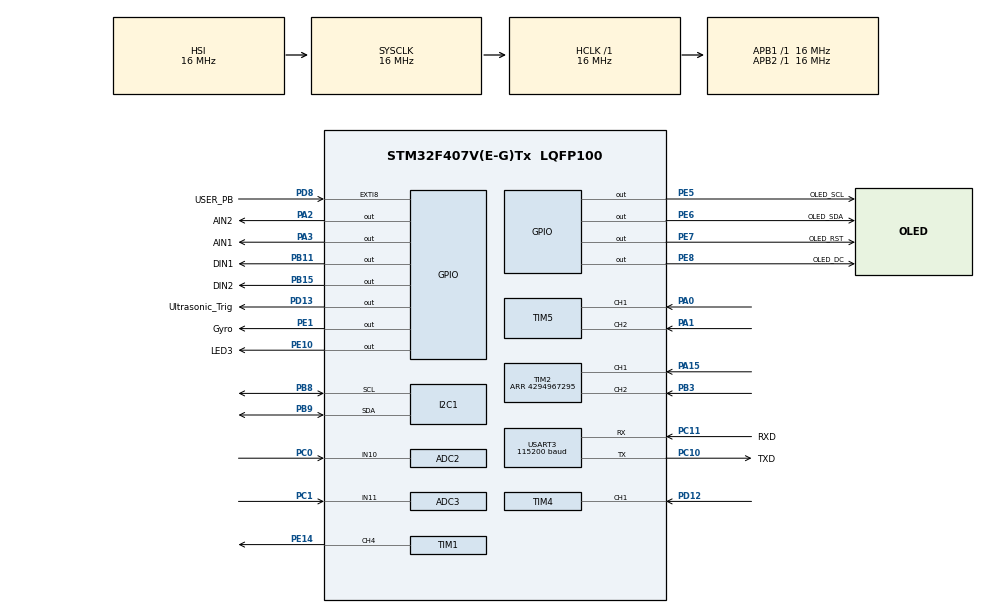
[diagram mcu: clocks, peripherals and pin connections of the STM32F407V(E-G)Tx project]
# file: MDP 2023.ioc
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ADC2.Channel-1\#ChannelRegularConversion=ADC_CHANNEL_10
ADC2.NbrOfConversionFlag=1
ADC2.Rank-1\#ChannelRegularConversion=1
ADC2.SamplingTime-1\#ChannelRegularConversion=ADC_SAMPLETIME_3CYCLES
ADC3.Channel-1\#ChannelRegularConversion=ADC_CHANNEL_11
ADC3.NbrOfConversionFlag=1
ADC3.Rank-1\#ChannelRegularConversion=1
ADC3.SamplingTime-1\#ChannelRegularConversion=ADC_SAMPLETIME_3CYCLES
FREERTOS.Tasks01=defaultTask,8,128,StartDefaultTask,Default,NULL,Dynamic,NULL,NULL;DCMotor,8,128,DCMotor_task,Default,NULL,Dynamic,NULL,NULL;RefreshOLED,8,128,RefreshOLED_task,Default,NULL,Dynamic,NULL,NULL;EncoderMotorA,8,128,EncoderMotorA_task,Default,NULL,Dynamic,NULL,NULL;EncoderMotorB,8,128,EncoderMotorB_task,Default,NULL,Dynamic,NULL,NULL;UART_Command_RX,8,128,UART_Command_RX_task,Default,NULL,Dynamic,NULL,NULL;Gyrohandle,8,128,Gyro,Default,NULL,Dynamic,NULL,NULL;Ultrasonic,8,128,Ultrasonic_task,Default,NULL,Dynamic,NULL,NULL
Mcu.Family=STM32F4
Mcu.Name=STM32F407V(E-G)Tx
Mcu.Package=LQFP100
NVIC.EXTI9_5_IRQn=true\:5\:0\:false\:false\:true\:true\:true\:true\:true
NVIC.PriorityGroup=NVIC_PRIORITYGROUP_4
NVIC.TIM4_IRQn=true\:5\:0\:false\:false\:true\:true\:true\:true\:true
NVIC.USART3_IRQn=true\:5\:0\:false\:false\:true\:true\:true\:true\:true
PA0-WKUP.Signal=S_TIM5_CH1
PA1.Signal=S_TIM5_CH2
PA15.Signal=S_TIM2_CH1_ETR
PA2.GPIO_Label=AIN2
PA2.GPIO_Speed=GPIO_SPEED_FREQ_HIGH
PA2.Signal=GPIO_Output
PA3.GPIO_Label=AIN1
PA3.GPIO_Speed=GPIO_SPEED_FREQ_HIGH
PA3.Signal=GPIO_Output
PA6.Signal=S_TIM3_CH1
PB11.GPIO_Label=DIN1
PB11.GPIO_Speed=GPIO_SPEED_FREQ_HIGH
PB11.PinState=GPIO_PIN_RESET
PB11.Signal=GPIO_Output
PB15.GPIO_Label=DIN2
PB15.GPIO_Speed=GPIO_SPEED_FREQ_HIGH
PB15.Signal=GPIO_Output
PB3.Signal=S_TIM2_CH2
PB8.Mode=I2C
PB8.Signal=I2C1_SCL
PB9.Mode=I2C
PB9.Signal=I2C1_SDA
PC0.Signal=ADCx_IN10
PC1.Signal=ADCx_IN11
PC10.GPIO_Label=TXD
PC10.GPIO_ModeDefaultPP=GPIO_MODE_AF_PP
PC10.GPIO_Speed=GPIO_SPEED_FREQ_VERY_HIGH
PC10.Mode=Asynchronous
PC10.Signal=USART3_TX
PC11.GPIO_Label=RXD
PC11.GPIO_Speed=GPIO_SPEED_FREQ_VERY_HIGH
PC11.Mode=Asynchronous
PC11.Signal=USART3_RX
PC6.GPIO_Label=PWMA
PC6.Signal=S_TIM8_CH1
PC9.GPIO_Label=PWMD
PC9.Signal=S_TIM8_CH4
PD12.Signal=S_TIM4_CH1
PD13.GPIO_Label=Ultrasonic_Trig
PD13.Signal=GPIO_Output
PD8.GPIO_Label=USER_PB
PD8.GPIO_PuPd=GPIO_PULLDOWN
PD8.Signal=GPXTI8
PE1.GPIO_Label=Gyro
PE1.Signal=GPIO_Output
PE10.GPIO_Label=LED3
PE10.Signal=GPIO_Output
PE14.Signal=S_TIM1_CH4
PE5.GPIO_Label=OLED_SCL
PE5.Signal=GPIO_Output
PE6.GPIO_Label=OLED_SDA
PE6.Signal=GPIO_Output
PE7.GPIO_Label=OLED_RST
PE7.Signal=GPIO_Output
PE8.GPIO_Label=OLED_DC
PE8.Signal=GPIO_Output
ProjectManager.HeapSize=0x200
ProjectManager.StackSize=0x400
ProjectManager.TargetToolchain=STM32CubeIDE
RCC.AHBFreq_Value=16000000
RCC.APB1Freq_Value=16000000
RCC.APB2Freq_Value=16000000
RCC.CortexFreq_Value=16000000
RCC.HSE_VALUE=25000000
RCC.HSI_VALUE=16000000
RCC.LSE_VALUE=32768
RCC.SYSCLKFreq_VALUE=16000000
RCC.VCOOutputFreq_Value=192000000
SH.ADCx_IN10.0=ADC2_IN10,IN10
SH.ADCx_IN11.0=ADC3_IN11,IN11
SH.S_TIM1_CH4.0=TIM1_CH4,PWM Generation4 CH4
SH.S_TIM2_CH1_ETR.0=TIM2_CH1,Encoder_Interface
SH.S_TIM2_CH2.0=TIM2_CH2,Encoder_Interface
SH.S_TIM3_CH1.0=TIM3_CH1
SH.S_TIM4_CH1.0=TIM4_CH1,Input_Capture1_from_TI1
SH.S_TIM5_CH1.0=TIM5_CH1,Encoder_Interface
SH.S_TIM5_CH2.0=TIM5_CH2,Encoder_Interface
SH.S_TIM8_CH1.0=TIM8_CH1
SH.S_TIM8_CH4.0=TIM8_CH4
TIM1.AutoReloadPreload=TIM_AUTORELOAD_PRELOAD_ENABLE
TIM1.Channel-PWM\ Generation4\ CH4=TIM_CHANNEL_4
TIM1.Period=1000
TIM1.Prescaler=160
TIM2.EncoderMode=TIM_ENCODERMODE_TI12
TIM2.IC1Filter=10
TIM2.IC2Filter=10
TIM2.Period=4294967295
TIM4.Channel-Input_Capture1_from_TI1=TIM_CHANNEL_1
TIM4.Period=0xffff-1
TIM4.Prescaler=16-1
TIM5.EncoderMode=TIM_ENCODERMODE_TI12
TIM5.IC1Filter=10
TIM5.IC2Filter=10
TIM8.Channel-PWM\ Generation1\ No\ Output=TIM_CHANNEL_1
TIM8.Channel-PWM\ Generation2\ No\ Output=TIM_CHANNEL_2
TIM8.Channel-PWM\ Generation4\ No\ Output=TIM_CHANNEL_4
TIM8.Period=7199
USART3.BaudRate=115200
USART3.VirtualMode=VM_ASYNC
VP_FREERTOS_VS_CMSIS_V2.Mode=CMSIS_V2
VP_TIM1_VS_ClockSourceINT.Mode=Internal
VP_TIM8_VS_ClockSourceINT.Mode=Internal
VP_TIM8_VS_no_output1.Mode=PWM Generation1 No Output
VP_TIM8_VS_no_output2.Mode=PWM Generation2 No Output
VP_TIM8_VS_no_output4.Mode=PWM Generation4 No Output
board=custom

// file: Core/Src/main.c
/* USER CODE BEGIN Header */
/**
  ******************************************************************************
  * @file           : main.c
  * @brief          : Main program body
  ******************************************************************************
  * @attention
  *
  * Copyright (c) 2023 STMicroelectronics.
  * All rights reserved.
  *
  * This software is licensed under terms that can be found in the LICENSE file
  * in the root directory of this software component.
  * If no LICENSE file comes with this software, it is provided AS-IS.
  *
  ******************************************************************************
  */
/* USER CODE END Header */
#include "main.h"
#include "cmsis_os.h"

/* USER CODE BEGIN Includes */
#include "oled.h"
#include "stdlib.h"
#include <math.h>
#include <string.h>
/* USER CODE END Includes */

/* USER CODE BEGIN PD */
#define CNT_ERROR_TOLERANCE 10
//#define PWM_MAX 3000 //1500
#define SERVO_RIGHT_MAX 230
#define SERVO_LEFT_MAX 100
#define SERVO_STRAIGHT 150
#define INTEGRAL_MAX 1000000
//#define GREATER_TURN_PWM 1500 // 1500
//#define LESSER_TURN_PWM 1200 //1200

// for ultrasonic sensor
#define TRIG_PIN Ultrasonic_Trig_Pin
#define TRIG_PORT Ultrasonic_Trig_GPIO_Port

/* USER CODE END PD */

ADC_HandleTypeDef hadc2;
ADC_HandleTypeDef hadc3;

I2C_HandleTypeDef hi2c1;

TIM_HandleTypeDef htim1;
TIM_HandleTypeDef htim2;
TIM_HandleTypeDef htim4;
TIM_HandleTypeDef htim5;
TIM_HandleTypeDef htim8;

UART_HandleTypeDef huart3;

/* Definitions for defaultTask */
osThreadId_t defaultTaskHandle;
const osThreadAttr_t defaultTask_attributes = {
  .name = "defaultTask",
  .stack_size = 128 * 4,
  .priority = (osPriority_t) osPriorityLow,
};
/* Definitions for DCMotor */
osThreadId_t DCMotorHandle;
const osThreadAttr_t DCMotor_attributes = {
  .name = "DCMotor",
  .stack_size = 128 * 4,
  .priority = (osPriority_t) osPriorityLow,
};
/* Definitions for RefreshOLED */
osThreadId_t RefreshOLEDHandle;
const osThreadAttr_t RefreshOLED_attributes = {
  .name = "RefreshOLED",
  .stack_size = 128 * 4,
  .priority = (osPriority_t) osPriorityLow,
};
/* Definitions for EncoderMotorA */
osThreadId_t EncoderMotorAHandle;
const osThreadAttr_t EncoderMotorA_attributes = {
  .name = "EncoderMotorA",
  .stack_size = 128 * 4,
  .priority = (osPriority_t) osPriorityLow,
};
/* Definitions for EncoderMotorB */
osThreadId_t EncoderMotorBHandle;
const osThreadAttr_t EncoderMotorB_attributes = {
  .name = "EncoderMotorB",
  .stack_size = 128 * 4,
  .priority = (osPriority_t) osPriorityLow,
};
/* Definitions for UART_Command_RX */
osThreadId_t UART_Command_RXHandle;
const osThreadAttr_t UART_Command_RX_attributes = {
  .name = "UART_Command_RX",
  .stack_size = 128 * 4,
  .priority = (osPriority_t) osPriorityLow,
};
/* Definitions for Gyrohandle */
osThreadId_t GyrohandleHandle;
const osThreadAttr_t Gyrohandle_attributes = {
  .name = "Gyrohandle",
  .stack_size = 128 * 4,
  .priority = (osPriority_t) osPriorityLow,
};
/* Definitions for Ultrasonic */
osThreadId_t UltrasonicHandle;
const osThreadAttr_t Ultrasonic_attributes = {
  .name = "Ultrasonic",
  .stack_size = 128 * 4,
  .priority = (osPriority_t) osPriorityLow,
};

void SystemClock_Config(void);
static void MX_GPIO_Init(void);
static void MX_TIM8_Init(void);
static void MX_TIM1_Init(void);
static void MX_TIM2_Init(void);
static void MX_USART3_UART_Init(void);
static void MX_I2C1_Init(void);
static void MX_TIM5_Init(void);
static void MX_ADC2_Init(void);
static void MX_ADC3_Init(void);
static void MX_TIM4_Init(void);
void StartDefaultTask(void *argument);
void DCMotor_task(void *argument);
void RefreshOLED_task(void *argument);
void EncoderMotorA_task(void *argument);
void EncoderMotorB_task(void *argument);
void UART_Command_RX_task(void *argument);
void Gyro(void *argument);
void Ultrasonic_task(void *argument);

/* USER CODE BEGIN 0 */
// New commands from Rpi board will be received and stored in this buffer
//ICM20948 imu;
//uint8_t aRxBuffer[1];
uint8_t aRxBuffer[5];
uint8_t oledRow0[20];
uint8_t oledRow1[20];
uint8_t oledRow2[20];
uint8_t oledRow3[20];
uint8_t oledRow4[20];
uint8_t oledRow5[20];

uint8_t buff[20];
double totalAngle = 0;
uint8_t ICMAddr = 0x68;
uint32_t prevTick;
int16_t angularSpeed;
double oldTotalAngle = 0;

char cmd = '-';
int received = 0;
int turning = -1;
int dir = -2;
float input = 0.0;
int32_t diffA = 0;
int32_t diffB = 0;
int32_t pwmValB;
int32_t pwmValA;
int32_t millisOldA = 0;
int32_t errorOldA = 0;
int32_t errorAreaA = 0;
int32_t millisOldB = 0;
int32_t errorOldB = 0;
int32_t errorAreaB = 0;
float targetCount = 0.0;
double targetAngle = 0;

int8_t isIndoor = 0;
// If user button is not activated, set default values to indoor settings.
int currPWMSetting = 4000;
int pwmMax = 4000;
int greaterTurnPwm = 1500; // 1500
int lesserTurnPwm = 1200; //1200

void SendFeedBack(int done){
	if(done == 1){
		HAL_UART_Transmit(&huart3, "1,0\n", 4, 0xFFFF);
	}
	if(done == -1){
		HAL_UART_Transmit(&huart3, "-1,0\n", 5, 0xFFFF);
	}
}

void HAL_GPIO_EXTI_Callback( uint16_t GPIO_Pin ) {

	// Push user button if test is outdoors
	// LED light up = indoor, else, outdoors
	if (GPIO_Pin == USER_PB_Pin) {
		if (isIndoor == 0) // If Indoor
		{
			isIndoor = 1;
			HAL_GPIO_WritePin(GPIOE, LED3_Pin, GPIO_PIN_RESET);
			// global variables to set for indoor conditions
			currPWMSetting = 4000;
			pwmMax = 4000;
			greaterTurnPwm = 1500;
			lesserTurnPwm = 1200;
		}
		else // If Outdoor
		{
			isIndoor = 0;
			HAL_GPIO_WritePin(GPIOE, LED3_Pin, GPIO_PIN_SET);
			// global variables to set for outdoor conditions
			currPWMSetting = 2500;
			pwmMax = 2500;
			greaterTurnPwm = 800;
			lesserTurnPwm = 500;
		}
	}
}

//for ultrasonic sensor
uint32_t IC_Val1 = 0;
uint32_t IC_Val2 = 0;
uint32_t Difference = 0;
uint8_t Is_First_Captured = 0;  // is the first value captured ?
uint16_t Distance = 50;

void HAL_TIM_IC_CaptureCallback(TIM_HandleTypeDef *htim)
{
	if (htim->Channel == HAL_TIM_ACTIVE_CHANNEL_1)  // if the interrupt source is channel1
	{
		if (Is_First_Captured==0) // if the first value is not captured
		{
			IC_Val1 = HAL_TIM_ReadCapturedValue(htim, TIM_CHANNEL_1); // read the first value
			Is_First_Captured = 1;  // set the first captured as true
			// Now change the polarity to falling edge
			__HAL_TIM_SET_CAPTUREPOLARITY(htim, TIM_CHANNEL_1, TIM_INPUTCHANNELPOLARITY_FALLING);
		}

		else if (Is_First_Captured==1)   // if the first is already captured
		{
			IC_Val2 = HAL_TIM_ReadCapturedValue(htim, TIM_CHANNEL_1);  // read second value
			__HAL_TIM_SET_COUNTER(htim, 0);  // reset the counter

			if (IC_Val2 > IC_Val1)
			{
				Difference = IC_Val2-IC_Val1;
			}

			else if (IC_Val1 > IC_Val2)
			{
				Difference = (0xffff - IC_Val1) + IC_Val2;
			}

			Distance = Difference * .034/2;
			Is_First_Captured = 0; // set it back to false

			// set polarity to rising edge
			__HAL_TIM_SET_CAPTUREPOLARITY(htim, TIM_CHANNEL_1, TIM_INPUTCHANNELPOLARITY_RISING);
			__HAL_TIM_DISABLE_IT(&htim4, TIM_IT_CC1);
		}
	}
}

void delay (uint16_t time)
{
	__HAL_TIM_SET_COUNTER(&htim4, 0);
	while(__HAL_TIM_GET_COUNTER (&htim4) < time);
}

void HCSR04_Read (void)
{
	HAL_GPIO_WritePin(TRIG_PORT, TRIG_PIN, GPIO_PIN_SET);  // pull the TRIG pin HIGH
	delay(10);  // wait for 10 us
	HAL_GPIO_WritePin(TRIG_PORT, TRIG_PIN, GPIO_PIN_RESET);  // pull the TRIG pin low

	__HAL_TIM_ENABLE_IT(&htim4, TIM_IT_CC1);
}

void readByte(uint8_t addr, uint8_t* data){
	buff[0] = addr;
	HAL_I2C_Master_Transmit(&hi2c1, ICMAddr<<1, buff, 1, 10);
	HAL_I2C_Master_Receive(&hi2c1, ICMAddr<<1, data, 2, 20);
}

void writeByte(uint8_t addr, uint8_t data){
	buff[0] = addr;
	buff[1] = data;
	HAL_I2C_Master_Transmit(&hi2c1, ICMAddr << 1, buff, 2, 20);
}

void gyroStart(){
	writeByte(0x07, 0x07);
	osDelay(10);
	writeByte(0x07, 0x00);
	osDelay(10);
}

void gyroInit(){

	writeByte(0x06, 0x00);
	osDelay(10);
	writeByte(0x03, 0x80);
	osDelay(10);
	writeByte(0x07, 0x07);
	osDelay(10);
	writeByte(0x06, 0x01);
	osDelay(10);
	writeByte(0x7F, 0x20);
	osDelay(10);
	writeByte(0x01, 0x2F);
	osDelay(10);
	writeByte(0x0, 0x00);
	osDelay(10);
	writeByte(0x7F, 0x00);
	osDelay(10);
	writeByte(0x07, 0x00);
	osDelay(10);
}

/* Start PWM for DC and servor motors
	 * htim8 channel 1: PWMA - DC motor A
	 * htim8 channel 2: PWMB - DC motor B
	 * htim1 channel 4: Servo motor*/

void StartPMWVal(void){
	HAL_TIM_PWM_Start(&htim8, TIM_CHANNEL_1);
	HAL_TIM_PWM_Start(&htim8, TIM_CHANNEL_2);
	HAL_TIM_PWM_Start(&htim8, TIM_CHANNEL_4);
	HAL_TIM_PWM_Start(&htim1, TIM_CHANNEL_4);
}

void SetPinForward(void){
	HAL_GPIO_WritePin(GPIOA, AIN1_Pin, GPIO_PIN_RESET);
	HAL_GPIO_WritePin(GPIOB, DIN1_Pin, GPIO_PIN_RESET);
	HAL_GPIO_WritePin(GPIOB, DIN2_Pin, GPIO_PIN_SET);
	HAL_GPIO_WritePin(GPIOA, AIN2_Pin, GPIO_PIN_SET);
}

void SetPinReverse(void){
	HAL_GPIO_WritePin(GPIOA, AIN2_Pin, GPIO_PIN_RESET);
	HAL_GPIO_WritePin(GPIOB, DIN2_Pin, GPIO_PIN_RESET);
	HAL_GPIO_WritePin(GPIOA, AIN1_Pin, GPIO_PIN_SET);
	HAL_GPIO_WritePin(GPIOB, DIN1_Pin, GPIO_PIN_SET);
}

void SetPinStop(void){
	HAL_GPIO_WritePin(GPIOA, AIN2_Pin, GPIO_PIN_RESET);
	HAL_GPIO_WritePin(GPIOB, DIN2_Pin, GPIO_PIN_RESET);
	HAL_GPIO_WritePin(GPIOA, AIN1_Pin, GPIO_PIN_RESET);
	HAL_GPIO_WritePin(GPIOB, DIN1_Pin, GPIO_PIN_RESET);
}

void TurnFullLeft(void){
	turning = 1;
	htim1.Instance -> CCR4 = SERVO_LEFT_MAX;
	osDelay(200);
}
void TurnFullRight(void){
	turning = 1;
	htim1.Instance -> CCR4 = SERVO_RIGHT_MAX;
	osDelay(200);
}
// assume 90 deg.
void TurnStraighten(void){
	turning = 1;
	htim1.Instance -> CCR4 = SERVO_STRAIGHT;
	osDelay(200);
}

void ResetValues(void)
{
	errorOldA = 0;
	errorOldB = 0;
	errorAreaA = 0;
	errorAreaB = 0;
	pwmValA = 0;
	pwmValB = 0;
	totalAngle = 0;
	__HAL_TIM_SET_COUNTER(&htim2, 0);
	__HAL_TIM_SET_COUNTER(&htim5, 0);
}

int CalcPIDA_Dist(void){
	int32_t errorA = 0;
	int32_t errorRate = 0;
	float_t kp = 0.40;
	float_t ki = 0.005;
	float_t kd = 200;
	int32_t dt = 0;
	int32_t millisNow;
	int32_t pwmValA_temp;
	float count = abs(__HAL_TIM_GET_COUNTER(&htim2));
	if(targetCount - count > 0)
	{
		millisNow = HAL_GetTick();
		dt = millisNow - millisOldA;
		millisOldA = millisNow;
		errorA = targetCount - count;
		errorRate = (errorA - errorOldA)/dt;
		errorOldA = errorA;
		errorAreaA = errorAreaA + errorA*dt;

		if(errorAreaA > INTEGRAL_MAX)
			errorAreaA = INTEGRAL_MAX;
		else if (errorAreaA < -INTEGRAL_MAX)
			errorAreaA = -INTEGRAL_MAX;

		pwmValA_temp = kp*errorA + kd*errorRate + ki*errorAreaA;

		if(pwmValA_temp > pwmMax){
			pwmValA_temp = pwmMax;
		}
		else if(pwmValA_temp < -pwmMax){
			pwmValA_temp = -pwmMax;
		}
		return pwmValA_temp;
	}
	else
	{
		dir = 0;
	}
	return 0;
}

int CalcPIDB_Dist(void){
	int32_t errorB = 0;
	int32_t errorRate = 0;
	float_t kp = 0.40;
	float_t ki = 0.005;
	float_t kd = 200;
	int32_t dt = 0;
	int32_t millisNow;
	int32_t pwmValB_temp;
	float count = abs(__HAL_TIM_GET_COUNTER(&htim5));
	if(targetCount - count > 0)
	{
		millisNow = HAL_GetTick();
		dt = millisNow - millisOldB;
		millisOldB = millisNow;
		errorB = targetCount - count;
		errorRate = (errorB - errorOldB)/dt;
		errorOldB = errorB;
		errorAreaB = errorAreaB + errorB*dt;
		if(errorAreaB > INTEGRAL_MAX)
			errorAreaB = INTEGRAL_MAX;
		else if (errorAreaB < -INTEGRAL_MAX)
			errorAreaB = -INTEGRAL_MAX;

		pwmValB_temp = kp*errorB + kd*errorRate + ki*errorAreaB;

		if(pwmValB_temp > pwmMax){
			pwmValB_temp = pwmMax;
		}
		else if(pwmValB_temp < -pwmMax){
			pwmValB_temp = -pwmMax;
		}
		return pwmValB_temp;
	}
	else
	{
		dir = 0;
	}
	return 0;
}

int ServoCorrection(void){
	double corrMultiplier = 6;
	double correction = 0.0;

	if(dir == 1)
		correction = (double)(SERVO_STRAIGHT + totalAngle*corrMultiplier);
	else if(dir == -1)
		correction = (double)(SERVO_STRAIGHT - totalAngle*corrMultiplier);

	if(correction > SERVO_RIGHT_MAX){
		correction = SERVO_RIGHT_MAX;
	}
	else if(correction < SERVO_LEFT_MAX){
		correction = SERVO_LEFT_MAX;
	}
	return correction;
}

/* USER CODE END 0 */

int main(void)
{

  /* MCU Configuration--------------------------------------------------------*/

  /* Reset of all peripherals, Initializes the Flash interface and the Systick. */
  HAL_Init();

  /* Configure the system clock */
  SystemClock_Config();

  /* Initialize all configured peripherals */
  MX_GPIO_Init();
  MX_TIM8_Init();
  MX_TIM1_Init();
  MX_TIM2_Init();
  MX_USART3_UART_Init();
  MX_I2C1_Init();
  MX_TIM5_Init();
  MX_ADC2_Init();
  MX_ADC3_Init();
  MX_TIM4_Init();
  /* USER CODE BEGIN 2 */
  OLED_Init();
  HAL_UART_Receive_IT(&huart3, (uint8_t *)aRxBuffer, 5);
  millisOldA = HAL_GetTick();
  millisOldB = HAL_GetTick();
  __HAL_TIM_SET_COUNTER(&htim2, 0);
  __HAL_TIM_SET_COUNTER(&htim5, 0);
  HAL_TIM_IC_Start_IT(&htim4, TIM_CHANNEL_1); // for ultrasonic sensor
  HAL_Delay(100);

  /* USER CODE END 2 */

  /* Init scheduler */
  osKernelInitialize();

  /* Create the thread(s) */
  /* creation of defaultTask */
//  defaultTaskHandle = osThreadNew(StartDefaultTask, NULL, &defaultTask_attributes);

  /* creation of DCMotor */
  DCMotorHandle = osThreadNew(DCMotor_task, NULL, &DCMotor_attributes);

  /* creation of RefreshOLED */
//  RefreshOLEDHandle = osThreadNew(RefreshOLED_task, NULL, &RefreshOLED_attributes);

  /* creation of EncoderMotorA */
  EncoderMotorAHandle = osThreadNew(EncoderMotorA_task, NULL, &EncoderMotorA_attributes);

  /* creation of EncoderMotorB */
  EncoderMotorBHandle = osThreadNew(EncoderMotorB_task, NULL, &EncoderMotorB_attributes);

  /* creation of UART_Command_RX */
  UART_Command_RXHandle = osThreadNew(UART_Command_RX_task, NULL, &UART_Command_RX_attributes);

  /* creation of Gyrohandle */
  GyrohandleHandle = osThreadNew(Gyro, NULL, &Gyrohandle_attributes);

  /* creation of Ultrasonic */
  UltrasonicHandle = osThreadNew(Ultrasonic_task, NULL, &Ultrasonic_attributes);

  /* Start scheduler */
  osKernelStart();

  /* We should never get here as control is now taken by the scheduler */
  /* Infinite loop */
  while (1)
  {

  }
}

void SystemClock_Config(void)
{
  RCC_OscInitTypeDef RCC_OscInitStruct = {0};
  RCC_ClkInitTypeDef RCC_ClkInitStruct = {0};

  /** Configure the main internal regulator output voltage
  */
  __HAL_RCC_PWR_CLK_ENABLE();
  __HAL_PWR_VOLTAGESCALING_CONFIG(PWR_REGULATOR_VOLTAGE_SCALE1);

  /** Initializes the RCC Oscillators according to the specified parameters
  * in the RCC_OscInitTypeDef structure.
  */
  RCC_OscInitStruct.OscillatorType = RCC_OSCILLATORTYPE_HSI;
  RCC_OscInitStruct.HSIState = RCC_HSI_ON;
  RCC_OscInitStruct.HSICalibrationValue = RCC_HSICALIBRATION_DEFAULT;
  RCC_OscInitStruct.PLL.PLLState = RCC_PLL_NONE;
  if (HAL_RCC_OscConfig(&RCC_OscInitStruct) != HAL_OK)
  {
    Error_Handler();
  }

  /** Initializes the CPU, AHB and APB buses clocks
  */
  RCC_ClkInitStruct.ClockType = RCC_CLOCKTYPE_HCLK|RCC_CLOCKTYPE_SYSCLK
                              |RCC_CLOCKTYPE_PCLK1|RCC_CLOCKTYPE_PCLK2;
  RCC_ClkInitStruct.SYSCLKSource = RCC_SYSCLKSOURCE_HSI;
  RCC_ClkInitStruct.AHBCLKDivider = RCC_SYSCLK_DIV1;
  RCC_ClkInitStruct.APB1CLKDivider = RCC_HCLK_DIV1;
  RCC_ClkInitStruct.APB2CLKDivider = RCC_HCLK_DIV1;

  if (HAL_RCC_ClockConfig(&RCC_ClkInitStruct, FLASH_LATENCY_0) != HAL_OK)
  {
    Error_Handler();
  }
}

static void MX_ADC2_Init(void)
{

  ADC_ChannelConfTypeDef sConfig = {0};

  /** Configure the global features of the ADC (Clock, Resolution, Data Alignment and number of conversion)
  */
  hadc2.Instance = ADC2;
  hadc2.Init.ClockPrescaler = ADC_CLOCK_SYNC_PCLK_DIV2;
  hadc2.Init.Resolution = ADC_RESOLUTION_12B;
  hadc2.Init.ScanConvMode = DISABLE;
  hadc2.Init.ContinuousConvMode = DISABLE;
  hadc2.Init.DiscontinuousConvMode = DISABLE;
  hadc2.Init.ExternalTrigConvEdge = ADC_EXTERNALTRIGCONVEDGE_NONE;
  hadc2.Init.ExternalTrigConv = ADC_SOFTWARE_START;
  hadc2.Init.DataAlign = ADC_DATAALIGN_RIGHT;
  hadc2.Init.NbrOfConversion = 1;
  hadc2.Init.DMAContinuousRequests = DISABLE;
  hadc2.Init.EOCSelection = ADC_EOC_SINGLE_CONV;
  if (HAL_ADC_Init(&hadc2) != HAL_OK)
  {
    Error_Handler();
  }

  /** Configure for the selected ADC regular channel its corresponding rank in the sequencer and its sample time.
  */
  sConfig.Channel = ADC_CHANNEL_10;
  sConfig.Rank = 1;
  sConfig.SamplingTime = ADC_SAMPLETIME_3CYCLES;
  if (HAL_ADC_ConfigChannel(&hadc2, &sConfig) != HAL_OK)
  {
    Error_Handler();
  }

}

static void MX_ADC3_Init(void)
{

  ADC_ChannelConfTypeDef sConfig = {0};

  /** Configure the global features of the ADC (Clock, Resolution, Data Alignment and number of conversion)
  */
  hadc3.Instance = ADC3;
  hadc3.Init.ClockPrescaler = ADC_CLOCK_SYNC_PCLK_DIV2;
  hadc3.Init.Resolution = ADC_RESOLUTION_12B;
  hadc3.Init.ScanConvMode = DISABLE;
  hadc3.Init.ContinuousConvMode = DISABLE;
  hadc3.Init.DiscontinuousConvMode = DISABLE;
  hadc3.Init.ExternalTrigConvEdge = ADC_EXTERNALTRIGCONVEDGE_NONE;
  hadc3.Init.ExternalTrigConv = ADC_SOFTWARE_START;
  hadc3.Init.DataAlign = ADC_DATAALIGN_RIGHT;
  hadc3.Init.NbrOfConversion = 1;
  hadc3.Init.DMAContinuousRequests = DISABLE;
  hadc3.Init.EOCSelection = ADC_EOC_SINGLE_CONV;
  if (HAL_ADC_Init(&hadc3) != HAL_OK)
  {
    Error_Handler();
  }

  /** Configure for the selected ADC regular channel its corresponding rank in the sequencer and its sample time.
  */
  sConfig.Channel = ADC_CHANNEL_11;
  sConfig.Rank = 1;
  sConfig.SamplingTime = ADC_SAMPLETIME_3CYCLES;
  if (HAL_ADC_ConfigChannel(&hadc3, &sConfig) != HAL_OK)
  {
    Error_Handler();
  }

}

static void MX_I2C1_Init(void)
{

  hi2c1.Instance = I2C1;
  hi2c1.Init.ClockSpeed = 100000;
  hi2c1.Init.DutyCycle = I2C_DUTYCYCLE_2;
  hi2c1.Init.OwnAddress1 = 0;
  hi2c1.Init.AddressingMode = I2C_ADDRESSINGMODE_7BIT;
  hi2c1.Init.DualAddressMode = I2C_DUALADDRESS_DISABLE;
  hi2c1.Init.OwnAddress2 = 0;
  hi2c1.Init.GeneralCallMode = I2C_GENERALCALL_DISABLE;
  hi2c1.Init.NoStretchMode = I2C_NOSTRETCH_DISABLE;
  if (HAL_I2C_Init(&hi2c1) != HAL_OK)
  {
    Error_Handler();
  }

}

static void MX_TIM1_Init(void)
{

  TIM_ClockConfigTypeDef sClockSourceConfig = {0};
  TIM_MasterConfigTypeDef sMasterConfig = {0};
  TIM_OC_InitTypeDef sConfigOC = {0};
  TIM_BreakDeadTimeConfigTypeDef sBreakDeadTimeConfig = {0};

  htim1.Instance = TIM1;
  htim1.Init.Prescaler = 160;
  htim1.Init.CounterMode = TIM_COUNTERMODE_UP;
  htim1.Init.Period = 1000;
  htim1.Init.ClockDivision = TIM_CLOCKDIVISION_DIV1;
  htim1.Init.RepetitionCounter = 0;
  htim1.Init.AutoReloadPreload = TIM_AUTORELOAD_PRELOAD_ENABLE;
  if (HAL_TIM_Base_Init(&htim1) != HAL_OK)
  {
    Error_Handler();
  }
  sClockSourceConfig.ClockSource = TIM_CLOCKSOURCE_INTERNAL;
  if (HAL_TIM_ConfigClockSource(&htim1, &sClockSourceConfig) != HAL_OK)
  {
    Error_Handler();
  }
  if (HAL_TIM_PWM_Init(&htim1) != HAL_OK)
  {
    Error_Handler();
  }
  sMasterConfig.MasterOutputTrigger = TIM_TRGO_RESET;
  sMasterConfig.MasterSlaveMode = TIM_MASTERSLAVEMODE_DISABLE;
  if (HAL_TIMEx_MasterConfigSynchronization(&htim1, &sMasterConfig) != HAL_OK)
  {
    Error_Handler();
  }
  sConfigOC.OCMode = TIM_OCMODE_PWM1;
  sConfigOC.Pulse = 0;
  sConfigOC.OCPolarity = TIM_OCPOLARITY_HIGH;
  sConfigOC.OCFastMode = TIM_OCFAST_DISABLE;
  sConfigOC.OCIdleState = TIM_OCIDLESTATE_RESET;
  sConfigOC.OCNIdleState = TIM_OCNIDLESTATE_RESET;
  if (HAL_TIM_PWM_ConfigChannel(&htim1, &sConfigOC, TIM_CHANNEL_4) != HAL_OK)
  {
    Error_Handler();
  }
  sBreakDeadTimeConfig.OffStateRunMode = TIM_OSSR_DISABLE;
  sBreakDeadTimeConfig.OffStateIDLEMode = TIM_OSSI_DISABLE;
  sBreakDeadTimeConfig.LockLevel = TIM_LOCKLEVEL_OFF;
  sBreakDeadTimeConfig.DeadTime = 0;
  sBreakDeadTimeConfig.BreakState = TIM_BREAK_DISABLE;
  sBreakDeadTimeConfig.BreakPolarity = TIM_BREAKPOLARITY_HIGH;
  sBreakDeadTimeConfig.AutomaticOutput = TIM_AUTOMATICOUTPUT_DISABLE;
  if (HAL_TIMEx_ConfigBreakDeadTime(&htim1, &sBreakDeadTimeConfig) != HAL_OK)
  {
    Error_Handler();
  }
  HAL_TIM_MspPostInit(&htim1);

}

static void MX_TIM2_Init(void)
{

  TIM_Encoder_InitTypeDef sConfig = {0};
  TIM_MasterConfigTypeDef sMasterConfig = {0};

  htim2.Instance = TIM2;
  htim2.Init.Prescaler = 0;
  htim2.Init.CounterMode = TIM_COUNTERMODE_UP;
  htim2.Init.Period = 4294967295;
  htim2.Init.ClockDivision = TIM_CLOCKDIVISION_DIV1;
  htim2.Init.AutoReloadPreload = TIM_AUTORELOAD_PRELOAD_DISABLE;
  sConfig.EncoderMode = TIM_ENCODERMODE_TI12;
  sConfig.IC1Polarity = TIM_ICPOLARITY_RISING;
  sConfig.IC1Selection = TIM_ICSELECTION_DIRECTTI;
  sConfig.IC1Prescaler = TIM_ICPSC_DIV1;
  sConfig.IC1Filter = 10;
  sConfig.IC2Polarity = TIM_ICPOLARITY_RISING;
  sConfig.IC2Selection = TIM_ICSELECTION_DIRECTTI;
  sConfig.IC2Prescaler = TIM_ICPSC_DIV1;
  sConfig.IC2Filter = 10;
  if (HAL_TIM_Encoder_Init(&htim2, &sConfig) != HAL_OK)
  {
    Error_Handler();
  }
  sMasterConfig.MasterOutputTrigger = TIM_TRGO_RESET;
  sMasterConfig.MasterSlaveMode = TIM_MASTERSLAVEMODE_DISABLE;
  if (HAL_TIMEx_MasterConfigSynchronization(&htim2, &sMasterConfig) != HAL_OK)
  {
    Error_Handler();
  }

}

static void MX_TIM4_Init(void)
{

  TIM_MasterConfigTypeDef sMasterConfig = {0};
  TIM_IC_InitTypeDef sConfigIC = {0};

  htim4.Instance = TIM4;
  htim4.Init.Prescaler = 16-1;
  htim4.Init.CounterMode = TIM_COUNTERMODE_UP;
  htim4.Init.Period = 0xffff-1;
  htim4.Init.ClockDivision = TIM_CLOCKDIVISION_DIV1;
  htim4.Init.AutoReloadPreload = TIM_AUTORELOAD_PRELOAD_DISABLE;
  if (HAL_TIM_IC_Init(&htim4) != HAL_OK)
  {
    Error_Handler();
  }
  sMasterConfig.MasterOutputTrigger = TIM_TRGO_RESET;
  sMasterConfig.MasterSlaveMode = TIM_MASTERSLAVEMODE_DISABLE;
  if (HAL_TIMEx_MasterConfigSynchronization(&htim4, &sMasterConfig) != HAL_OK)
  {
    Error_Handler();
  }
  sConfigIC.ICPolarity = TIM_INPUTCHANNELPOLARITY_RISING;
  sConfigIC.ICSelection = TIM_ICSELECTION_DIRECTTI;
  sConfigIC.ICPrescaler = TIM_ICPSC_DIV1;
  sConfigIC.ICFilter = 0;
  if (HAL_TIM_IC_ConfigChannel(&htim4, &sConfigIC, TIM_CHANNEL_1) != HAL_OK)
  {
    Error_Handler();
  }

}

static void MX_TIM5_Init(void)
{

  TIM_Encoder_InitTypeDef sConfig = {0};
  TIM_MasterConfigTypeDef sMasterConfig = {0};

  htim5.Instance = TIM5;
  htim5.Init.Prescaler = 0;
  htim5.Init.CounterMode = TIM_COUNTERMODE_UP;
  htim5.Init.Period = 4294967295;
  htim5.Init.ClockDivision = TIM_CLOCKDIVISION_DIV1;
  htim5.Init.AutoReloadPreload = TIM_AUTORELOAD_PRELOAD_DISABLE;
  sConfig.EncoderMode = TIM_ENCODERMODE_TI12;
  sConfig.IC1Polarity = TIM_ICPOLARITY_RISING;
  sConfig.IC1Selection = TIM_ICSELECTION_DIRECTTI;
  sConfig.IC1Prescaler = TIM_ICPSC_DIV1;
  sConfig.IC1Filter = 10;
  sConfig.IC2Polarity = TIM_ICPOLARITY_RISING;
  sConfig.IC2Selection = TIM_ICSELECTION_DIRECTTI;
  sConfig.IC2Prescaler = TIM_ICPSC_DIV1;
  sConfig.IC2Filter = 10;
  if (HAL_TIM_Encoder_Init(&htim5, &sConfig) != HAL_OK)
  {
    Error_Handler();
  }
  sMasterConfig.MasterOutputTrigger = TIM_TRGO_RESET;
  sMasterConfig.MasterSlaveMode = TIM_MASTERSLAVEMODE_DISABLE;
  if (HAL_TIMEx_MasterConfigSynchronization(&htim5, &sMasterConfig) != HAL_OK)
  {
    Error_Handler();
  }

}

static void MX_TIM8_Init(void)
{

  TIM_ClockConfigTypeDef sClockSourceConfig = {0};
  TIM_MasterConfigTypeDef sMasterConfig = {0};
  TIM_OC_InitTypeDef sConfigOC = {0};
  TIM_BreakDeadTimeConfigTypeDef sBreakDeadTimeConfig = {0};

  htim8.Instance = TIM8;
  htim8.Init.Prescaler = 0;
  htim8.Init.CounterMode = TIM_COUNTERMODE_UP;
  htim8.Init.Period = 7199;
  htim8.Init.ClockDivision = TIM_CLOCKDIVISION_DIV1;
  htim8.Init.RepetitionCounter = 0;
  htim8.Init.AutoReloadPreload = TIM_AUTORELOAD_PRELOAD_DISABLE;
  if (HAL_TIM_Base_Init(&htim8) != HAL_OK)
  {
    Error_Handler();
  }
  sClockSourceConfig.ClockSource = TIM_CLOCKSOURCE_INTERNAL;
  if (HAL_TIM_ConfigClockSource(&htim8, &sClockSourceConfig) != HAL_OK)
  {
    Error_Handler();
  }
  if (HAL_TIM_PWM_Init(&htim8) != HAL_OK)
  {
    Error_Handler();
  }
  sMasterConfig.MasterOutputTrigger = TIM_TRGO_RESET;
  sMasterConfig.MasterSlaveMode = TIM_MASTERSLAVEMODE_DISABLE;
  if (HAL_TIMEx_MasterConfigSynchronization(&htim8, &sMasterConfig) != HAL_OK)
  {
    Error_Handler();
  }
  sConfigOC.OCMode = TIM_OCMODE_PWM1;
  sConfigOC.Pulse = 0;
  sConfigOC.OCPolarity = TIM_OCPOLARITY_HIGH;
  sConfigOC.OCNPolarity = TIM_OCNPOLARITY_HIGH;
  sConfigOC.OCFastMode = TIM_OCFAST_DISABLE;
  sConfigOC.OCIdleState = TIM_OCIDLESTATE_RESET;
  sConfigOC.OCNIdleState = TIM_OCNIDLESTATE_RESET;
  if (HAL_TIM_PWM_ConfigChannel(&htim8, &sConfigOC, TIM_CHANNEL_1) != HAL_OK)
  {
    Error_Handler();
  }
  if (HAL_TIM_PWM_ConfigChannel(&htim8, &sConfigOC, TIM_CHANNEL_2) != HAL_OK)
  {
    Error_Handler();
  }
  if (HAL_TIM_PWM_ConfigChannel(&htim8, &sConfigOC, TIM_CHANNEL_4) != HAL_OK)
  {
    Error_Handler();
  }
  sBreakDeadTimeConfig.OffStateRunMode = TIM_OSSR_DISABLE;
  sBreakDeadTimeConfig.OffStateIDLEMode = TIM_OSSI_DISABLE;
  sBreakDeadTimeConfig.LockLevel = TIM_LOCKLEVEL_OFF;
  sBreakDeadTimeConfig.DeadTime = 0;
  sBreakDeadTimeConfig.BreakState = TIM_BREAK_DISABLE;
  sBreakDeadTimeConfig.BreakPolarity = TIM_BREAKPOLARITY_HIGH;
  sBreakDeadTimeConfig.AutomaticOutput = TIM_AUTOMATICOUTPUT_DISABLE;
  if (HAL_TIMEx_ConfigBreakDeadTime(&htim8, &sBreakDeadTimeConfig) != HAL_OK)
  {
    Error_Handler();
  }

}

static void MX_USART3_UART_Init(void)
{

  huart3.Instance = USART3;
  huart3.Init.BaudRate = 115200;
  huart3.Init.WordLength = UART_WORDLENGTH_8B;
  huart3.Init.StopBits = UART_STOPBITS_1;
  huart3.Init.Parity = UART_PARITY_NONE;
  huart3.Init.Mode = UART_MODE_TX_RX;
  huart3.Init.HwFlowCtl = UART_HWCONTROL_NONE;
  huart3.Init.OverSampling = UART_OVERSAMPLING_16;
  if (HAL_UART_Init(&huart3) != HAL_OK)
  {
    Error_Handler();
  }

}

static void MX_GPIO_Init(void)
{
  GPIO_InitTypeDef GPIO_InitStruct = {0};

  /* GPIO Ports Clock Enable */
  __HAL_RCC_GPIOE_CLK_ENABLE();
  __HAL_RCC_GPIOC_CLK_ENABLE();
  __HAL_RCC_GPIOA_CLK_ENABLE();
  __HAL_RCC_GPIOB_CLK_ENABLE();
  __HAL_RCC_GPIOD_CLK_ENABLE();

  /*Configure GPIO pin Output Level */
  HAL_GPIO_WritePin(GPIOE, OLED_SCL_Pin|OLED_SDA_Pin|OLED_RST_Pin|OLED_DC_Pin
                          |LED3_Pin|Gyro_Pin, GPIO_PIN_RESET);

  /*Configure GPIO pin Output Level */
  HAL_GPIO_WritePin(GPIOA, AIN2_Pin|AIN1_Pin, GPIO_PIN_RESET);

  /*Configure GPIO pin Output Level */
  HAL_GPIO_WritePin(GPIOB, DIN1_Pin|DIN2_Pin, GPIO_PIN_RESET);

  /*Configure GPIO pin Output Level */
  HAL_GPIO_WritePin(Ultrasonic_Trig_GPIO_Port, Ultrasonic_Trig_Pin, GPIO_PIN_RESET);

  /*Configure GPIO pins : OLED_SCL_Pin OLED_SDA_Pin OLED_RST_Pin OLED_DC_Pin
                           LED3_Pin Gyro_Pin */
  GPIO_InitStruct.Pin = OLED_SCL_Pin|OLED_SDA_Pin|OLED_RST_Pin|OLED_DC_Pin
                          |LED3_Pin|Gyro_Pin;
  GPIO_InitStruct.Mode = GPIO_MODE_OUTPUT_PP;
  GPIO_InitStruct.Pull = GPIO_NOPULL;
  GPIO_InitStruct.Speed = GPIO_SPEED_FREQ_LOW;
  HAL_GPIO_Init(GPIOE, &GPIO_InitStruct);

  /*Configure GPIO pins : AIN2_Pin AIN1_Pin */
  GPIO_InitStruct.Pin = AIN2_Pin|AIN1_Pin;
  GPIO_InitStruct.Mode = GPIO_MODE_OUTPUT_PP;
  GPIO_InitStruct.Pull = GPIO_NOPULL;
  GPIO_InitStruct.Speed = GPIO_SPEED_FREQ_HIGH;
  HAL_GPIO_Init(GPIOA, &GPIO_InitStruct);

  /*Configure GPIO pin : PA6 */
  GPIO_InitStruct.Pin = GPIO_PIN_6;
  GPIO_InitStruct.Mode = GPIO_MODE_AF_PP;
  GPIO_InitStruct.Pull = GPIO_NOPULL;
  GPIO_InitStruct.Speed = GPIO_SPEED_FREQ_LOW;
  GPIO_InitStruct.Alternate = GPIO_AF2_TIM3;
  HAL_GPIO_Init(GPIOA, &GPIO_InitStruct);

  /*Configure GPIO pins : DIN1_Pin DIN2_Pin */
  GPIO_InitStruct.Pin = DIN1_Pin|DIN2_Pin;
  GPIO_InitStruct.Mode = GPIO_MODE_OUTPUT_PP;
  GPIO_InitStruct.Pull = GPIO_NOPULL;
  GPIO_InitStruct.Speed = GPIO_SPEED_FREQ_HIGH;
  HAL_GPIO_Init(GPIOB, &GPIO_InitStruct);

  /*Configure GPIO pin : USER_PB_Pin */
  GPIO_InitStruct.Pin = USER_PB_Pin;
  GPIO_InitStruct.Mode = GPIO_MODE_IT_RISING;
  GPIO_InitStruct.Pull = GPIO_PULLDOWN;
  HAL_GPIO_Init(USER_PB_GPIO_Port, &GPIO_InitStruct);

  /*Configure GPIO pin : Ultrasonic_Trig_Pin */
  GPIO_InitStruct.Pin = Ultrasonic_Trig_Pin;
  GPIO_InitStruct.Mode = GPIO_MODE_OUTPUT_PP;
  GPIO_InitStruct.Pull = GPIO_NOPULL;
  GPIO_InitStruct.Speed = GPIO_SPEED_FREQ_LOW;
  HAL_GPIO_Init(Ultrasonic_Trig_GPIO_Port, &GPIO_InitStruct);

  /* EXTI interrupt init*/
  HAL_NVIC_SetPriority(EXTI9_5_IRQn, 5, 0);
  HAL_NVIC_EnableIRQ(EXTI9_5_IRQn);

}

/* USER CODE BEGIN 4 */
/* When ever there is a message received, this function interrupt will be called*/
void HAL_UART_RxCpltCallback(UART_HandleTypeDef *huart)
{
	UNUSED(huart);
	cmd = (char) aRxBuffer[0];
	input = (int)(aRxBuffer[1] - '0')*1000 + (int)((char)aRxBuffer[2] - '0')*100 +
			(int)(aRxBuffer[3] - '0')*10 + (int)((char)aRxBuffer[4] - '0');

	if(cmd == 'a' || cmd == 'b')
	{
		targetCount = ((input - 35)/207.345) * 1560;
	}
	else if(cmd == 'c' || cmd == 'f') //left = +ve deg
	{
		targetAngle = totalAngle + input;
	}
	else if (cmd == 'd' || cmd == 'e') // right = -ve deg
	{
		targetAngle = totalAngle - input;
	}
	received = 1;
	HAL_UART_Receive_IT(&huart3, (uint8_t *)aRxBuffer, 5);// might need to change to recieve more
}

/* USER CODE END 4 */

void StartDefaultTask(void *argument)
{
  /* USER CODE BEGIN 5 */
  /* Infinite loop */
  for(;;)
  {
	  sprintf(oledRow1, "PWM : %5d", pwmMax);
//	  sprintf(oledRow2, "Rd:%3d Ld:%3d", (int)right_sensor_int, (int)left_sensor_int);
	  sprintf(oledRow2, "Tang : %5d", (long)totalAngle);
//	  sprintf(oledRow2, "PWM : %4d",  PWM_MAX);
//	  sprintf(oledRow3, "Rd : %3d", (int)right_sensor_int);
	  sprintf(oledRow3, "Sensor: %4d", Distance);
	  sprintf(oledRow4, "ind.: %d", isIndoor);
	  osDelay(1);
  }
  /* USER CODE END 5 */
}

void DCMotor_task(void *argument)
{
  /* USER CODE BEGIN DCMotor_task */
	StartPMWVal();
	int angleOffset = 4;
	while(1)
	{
		switch (dir)
		{
			case 1:
				SetPinForward();
				if(turning == 0){
					htim1.Instance -> CCR4 = ServoCorrection();
				}
				else if(turning == 1 && (cmd == 'c' || cmd == 'e'))// left
				{
					pwmValA = greaterTurnPwm;
					pwmValB = lesserTurnPwm;
				}
				else if(turning == 1 && (cmd == 'd' || cmd == 'f')) // right
				{
					pwmValB = greaterTurnPwm;
					pwmValA = lesserTurnPwm;
				}
				break;

			case 0:
				// send completed cmd back to RPi, ready to execute new command
				SetPinStop();
				pwmMax = currPWMSetting;
				osDelay(800);
				SendFeedBack(1);
				ResetValues();
				dir = -2; // should go to default
				break;

			case -1:
				SetPinReverse();
				if(turning == 0)
					htim1.Instance -> CCR4 = ServoCorrection();

				else if(turning == 1 && (cmd == 'c' || cmd == 'e'))// left
				{
					pwmValA = greaterTurnPwm;
					pwmValB = lesserTurnPwm;
				}
				else if(turning == 1 && (cmd == 'd' || cmd == 'f'))// right
				{
					pwmValB = greaterTurnPwm;
					pwmValA = lesserTurnPwm;
				}
				break;

			default:
				SetPinStop();
		}
		if(cmd == 'a' && Distance <= 40)
		{
			pwmMax = 1000;
			if(Distance <= 20)
			{
				SetPinStop();
				TurnStraighten();
				osDelay(200); //500
				ResetValues();
				osDelay(200); //500
				targetCount = (((25 - Distance)*10)/207.345) * 1560; // change input depending on how far it stops
				turning = 0;
				cmd = '-';
				dir = -1;
				continue;
			}
		}
	    if(turning == 1)
	    {
		   if((cmd == 'c' || cmd == 'f') && totalAngle >= targetAngle - angleOffset)
		   {
			   SetPinStop();
			   turning = 0;
			   osDelay(500); //500
			   htim1.Instance -> CCR4 = SERVO_STRAIGHT;
			   ResetValues();
//			   osDelay(500);
//			   targetCount = ((40 - 35)/207.345) * 1560;
//			   dir = -1;
			   dir = 0;
		   }
		   else if((cmd == 'd' || cmd == 'e') && totalAngle <= targetAngle + angleOffset)
		   {
			   SetPinStop();
			   turning = 0;
			   osDelay(500); //500
			   htim1.Instance -> CCR4 = SERVO_STRAIGHT;
			   ResetValues();
//			   osDelay(500);
//			   targetCount = ((40 - 35)/207.345) * 1560;
//			   dir = -1;
			   dir = 0;
		   }
	    }
		__HAL_TIM_SetCompare(&htim8, TIM_CHANNEL_4, pwmValB);
		__HAL_TIM_SetCompare(&htim8, TIM_CHANNEL_1, pwmValA);
		osDelay(1);
	}
  /* USER CODE END DCMotor_task */
}

void RefreshOLED_task(void *argument)
{
  /* USER CODE BEGIN RefreshOLED_task */
  /* Infinite loop */
  for(;;)
  {
//	OLED_ShowString(0,0,oledRow0);
	OLED_ShowString(0,10,oledRow1);
	OLED_ShowString(0,20,oledRow2);
	OLED_ShowString(0,30,oledRow3);
	OLED_ShowString(0,40,oledRow4);
	OLED_ShowString(0,50,oledRow5);
	OLED_Refresh_Gram();
	osDelay(10);
  }
  /* USER CODE END RefreshOLED_task */
}

void EncoderMotorA_task(void *argument)
{
  /* USER CODE BEGIN EncoderMotorA_task */
	HAL_TIM_Encoder_Start(&htim2, TIM_CHANNEL_ALL);
	int cnt1, cnt2;
	uint32_t tick;
	cnt1 = __HAL_TIM_GET_COUNTER(&htim2);
	tick = HAL_GetTick();

  /* Infinite loop */
  for(;;)
  {
	  // Get the difference between the cnt1 and cnt2 channels every 1000 ticks
	  if(HAL_GetTick() - tick > 1000L)
	  {
		  cnt2 = __HAL_TIM_GET_COUNTER(&htim2);
		  if(__HAL_TIM_IS_TIM_COUNTING_DOWN(&htim2))
		  {
			  if(cnt2 < cnt1)
				  diffA = cnt1 - cnt2;
			  else
				  diffA = (65535 - cnt2) + cnt1;
		  }
		  else
		  {
			  if(cnt2 > cnt1)
				  diffA = cnt2 - cnt1;
			  else
				  diffA = (65535 - cnt1) + cnt2;
		  }
		  if(diffA == 65535)
			  diffA = 0;
		  cnt1 = __HAL_TIM_GET_COUNTER(&htim2);
		  tick = HAL_GetTick();
	  }
	  if(turning == 0 && (dir == 1 || dir == -1))
			pwmValA = CalcPIDA_Dist();
  }
  /* USER CODE END EncoderMotorA_task */
}

void EncoderMotorB_task(void *argument)
{
  /* USER CODE BEGIN EncoderMotorB_task */
	HAL_TIM_Encoder_Start(&htim5, TIM_CHANNEL_ALL);
	int cnt1, cnt2;
	uint32_t tick;
	cnt1 = __HAL_TIM_GET_COUNTER(&htim5);
	tick = HAL_GetTick();
  /* Infinite loop */
  for(;;)
  {
	  if(HAL_GetTick() - tick > 1000L)
	  {
		  cnt2 = __HAL_TIM_GET_COUNTER(&htim5);
		  if(__HAL_TIM_IS_TIM_COUNTING_DOWN(&htim5))
		  {
			  if(cnt2 < cnt1)
				  diffB = cnt1 - cnt2;
			  else
				  diffB = (65535 - cnt2) + cnt1;
		  }
		  else
		  {
			  if(cnt2 > cnt1)
				  diffB = cnt2 - cnt1;
			  else
				  diffB = (65535 - cnt1) + cnt2;
		  }
		  if(diffB == 65535)
			  diffB = 0;
		  cnt1 = __HAL_TIM_GET_COUNTER(&htim5);
		  tick = HAL_GetTick();
	  }
	  if(turning == 0 && (dir == 1 || dir == -1))
			pwmValB = CalcPIDB_Dist();
  }
  /* USER CODE END EncoderMotorB_task */
}

void UART_Command_RX_task(void *argument)
{
  /* USER CODE BEGIN UART_Command_RX_task */
  /* Infinite loop */
	int disMeasured = 70;
	char bufferDis[20];
  for(;;)
  {
	  if(received == 1)
	  {
		  received = 0;
		  switch(cmd)
		  {
			  case 'a': // move Forward
				  TurnStraighten();
				  osDelay(100);
				  turning = 0;
				  dir = 1;
				  break;
			  case 'b': // move Backward
				  TurnStraighten();
				  osDelay(100);
				  turning = 0;
				  dir = -1;
				  break;
			  case 'c': // turn Forward Left
				  TurnFullLeft();
				  osDelay(100);
				  turning = 1;
				  dir = 1;
				  break;
			  case 'd': // turn Forward Right
				  TurnFullRight();
				  osDelay(100);
				  turning = 1;
				  dir = 1;
				  break;
			  case 'e': // turn Backward Left
				  TurnFullLeft();
				  osDelay(100);
				  turning = 1;
				  dir = -1;
				  break;
			  case 'f': // turn Backward Right
				  TurnFullRight();
				  osDelay(100);
				  turning = 1;
				  dir = -1;
				  break;
			  case 'g':
				  TurnStraighten();
				  dir = 0;
				  break;
			  case 'h':
				  disMeasured += (Distance - 10);
				  disMeasured = disMeasured * 10;
				  sprintf(bufferDis, "1,%d\n", disMeasured);
				  HAL_UART_Transmit(&huart3, bufferDis, strlen(bufferDis)*sizeof(char), 0xFFFF);
				  osDelay(100);
				  break;
			  default:
				  cmd = '-';
		  }
	  }
	  sprintf(oledRow5, "cmd: %s\0", aRxBuffer);
//	  HAL_Delay(500);
  }
  /* USER CODE END UART_Command_RX_task */
}

void Gyro(void *argument)
{
  /* USER CODE BEGIN Gyro */
	 uint8_t val[2] = {0,0};
	 uint32_t currTick;
	 int16_t offset = -2;
	 gyroInit();
	 prevTick = HAL_GetTick();
	   while (1)
	   {
		   currTick = HAL_GetTick();
		   if(currTick - prevTick >= 100L)
		   {
			   readByte(0x37, val);
			   angularSpeed = (val[0] << 8) | val[1];

			   if((angularSpeed >= -4 && angularSpeed <= 4) || (dir == 0 || dir == -2))
				   totalAngle += 0;
			   else
				   totalAngle += (double)(angularSpeed + offset)*((currTick - prevTick)/16400.0);

			   if(totalAngle >= 720)
			       totalAngle = 0;
			   else if(totalAngle <= -720)
				   totalAngle = 0;
			   prevTick = HAL_GetTick();
		   }
	   }
  /* USER CODE END Gyro */
}

void Ultrasonic_task(void *argument)
{
  /* USER CODE BEGIN Ultrasonic_task */
  /* Infinite loop */
  for(;;)
  {
	  // Activate ultrasonic only when moving forward
	  HCSR04_Read();
	  osDelay(200);
  }
  /* USER CODE END Ultrasonic_task */
}

void Error_Handler(void)
{
  __disable_irq();
  while (1)
  {
  }
}
